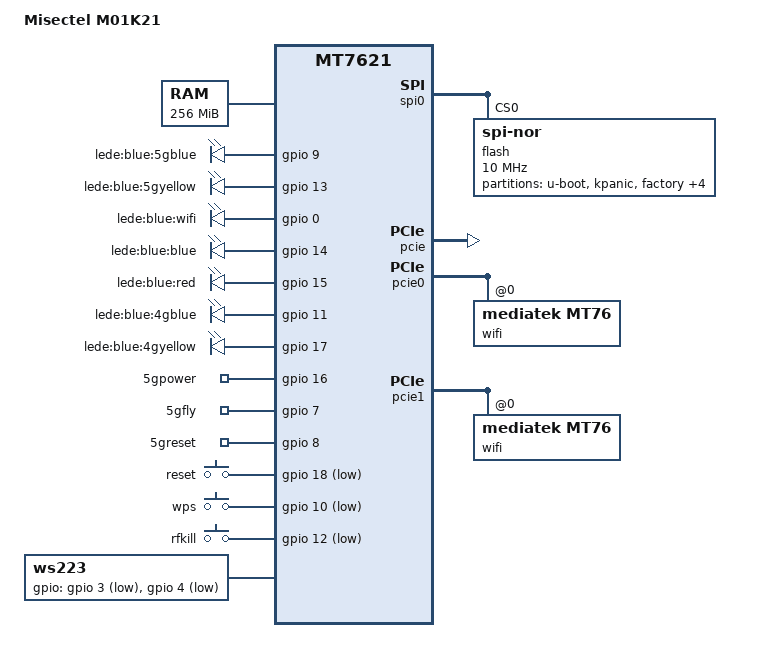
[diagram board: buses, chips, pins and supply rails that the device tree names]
// SPDX-License-Identifier: GPL-2.0-or-later OR MIT

#include "mt7621.dtsi"

#include <dt-bindings/gpio/gpio.h>
#include <dt-bindings/input/input.h>

/ {
	compatible = "misectel,m01k21", "mediatek,mt7621-soc";
	model = "Misectel M01K21";

	aliases {
		label-mac-device = &gmac0;
		led-boot = &led_blue;
		led-failsafe = &led_red;
		led-running = &led_blue;
		led-upgrade = &led_blue;
	};

	memory@0 {
		device_type = "memory";
		reg = <0x0 0x10000000>;
	};

	chosen {
		bootargs = "console=ttyS0,115200";
	};

	leds {
		compatible = "gpio-leds";

		led_5g_blue: led-5g-blue {
			label = "lede:blue:5gblue";
			gpios = <&gpio 9 GPIO_ACTIVE_HIGH>;
			default-state = "off";
		};

		led_5g_yellow: led-5g-yellow {
			label = "lede:blue:5gyellow";
			gpios = <&gpio 13 GPIO_ACTIVE_HIGH>;
			default-state = "off";
		};

		led_wifi: led-wifi {
			label = "lede:blue:wifi";
			gpios = <&gpio 0 GPIO_ACTIVE_HIGH>;
			default-state = "off";
		};

		led_blue: led-blue {
			label = "lede:blue:blue";
			gpios = <&gpio 14 GPIO_ACTIVE_HIGH>;
			linux,default-trigger = "timer";
			default-state = "off";
		};

		led_red: led-red {
			label = "lede:blue:red";
			gpios = <&gpio 15 GPIO_ACTIVE_HIGH>;
			default-state = "off";
		};

		led_4g_blue: led-4g-blue {
			label = "lede:blue:4gblue";
			gpios = <&gpio 11 GPIO_ACTIVE_HIGH>;
			default-state = "off";
		};

		led_4g_yellow: led-4g-yellow {
			label = "lede:blue:4gyellow";
			gpios = <&gpio 17 GPIO_ACTIVE_HIGH>;
			default-state = "off";
		};
	};

	gpio-export {
		compatible = "gpio-export";

		modem-power {
			gpio-export,name = "5gpower";
			gpio-export,output = <0>;
			gpios = <&gpio 16 GPIO_ACTIVE_HIGH>;
		};

		modem-flight-mode {
			gpio-export,name = "5gfly";
			gpio-export,output = <0>;
			gpios = <&gpio 7 GPIO_ACTIVE_HIGH>;
		};

		modem-reset {
			gpio-export,name = "5greset";
			gpio-export,output = <0>;
			gpios = <&gpio 8 GPIO_ACTIVE_HIGH>;
		};
	};

	keys {
		compatible = "gpio-keys";

		reset {
			label = "reset";
			gpios = <&gpio 18 GPIO_ACTIVE_LOW>;
			linux,code = <KEY_RESTART>;
		};

		wps {
			label = "wps";
			gpios = <&gpio 10 GPIO_ACTIVE_LOW>;
			linux,code = <KEY_WPS_BUTTON>;
		};

		rfkill {
			label = "rfkill";
			gpios = <&gpio 12 GPIO_ACTIVE_LOW>;
			linux,code = <KEY_RFKILL>;
		};
	};

	ws223 {
		compatible = "ws223";
		gpios = <&gpio 3 GPIO_ACTIVE_LOW>,
			<&gpio 4 GPIO_ACTIVE_LOW>;
	};
};

&spi0 {
	status = "okay";

	flash@0 {
		compatible = "jedec,spi-nor";
		reg = <0>;
		spi-max-frequency = <10000000>;

		partitions {
			compatible = "fixed-partitions";
			#address-cells = <1>;
			#size-cells = <1>;

			partition@0 {
				label = "u-boot";
				reg = <0x0 0x30000>;
				read-only;
			};

			partition@30000 {
				label = "kpanic";
				reg = <0x30000 0x10000>;
			};

			factory: partition@40000 {
				label = "factory";
				reg = <0x40000 0x10000>;
				read-only;

				nvmem-layout {
					compatible = "fixed-layout";
					#address-cells = <1>;
					#size-cells = <1>;

					eeprom_factory_0: eeprom@0 {
						reg = <0x0 0xe00>;
					};

					eeprom_factory_8000: eeprom@8000 {
						reg = <0x8000 0xe00>;
					};
				};
			};

			partition@50000 {
				compatible = "denx,uimage";
				label = "firmware";
				reg = <0x50000 0xf80000>;
			};

			partition@fd0000 {
				label = "woem";
				reg = <0xfd0000 0x10000>;
			};

			ledeinfo: partition@fe0000 {
				label = "ledeinfo";
				reg = <0xfe0000 0x10000>;
				read-only;

				nvmem-layout {
					compatible = "fixed-layout";
					#address-cells = <1>;
					#size-cells = <1>;

					macaddr_ledeinfo_0: macaddr@0 {
						reg = <0x0 0x6>;
					};
				};
			};

			partition@ff0000 {
				label = "reserve";
				reg = <0xff0000 0x10000>;
				read-only;
			};
		};
	};
};

&pcie {
	status = "okay";
};

&pcie0 {
	wifi@0,0 {
		compatible = "mediatek,mt76";
		reg = <0x0000 0 0 0 0>;
		nvmem-cells = <&eeprom_factory_8000>;
		nvmem-cell-names = "eeprom";
		ieee80211-freq-limit = <5000000 6000000>;
	};
};

&pcie1 {
	wifi@0,0 {
		compatible = "mediatek,mt76";
		reg = <0x0000 0 0 0 0>;
		nvmem-cells = <&eeprom_factory_0>;
		nvmem-cell-names = "eeprom";
		ieee80211-freq-limit = <2400000 2500000>;
	};
};

&gmac0 {
	nvmem-cells = <&macaddr_ledeinfo_0>;
	nvmem-cell-names = "mac-address";
};

&switch0 {
	ports {
		port@0 {
			status = "okay";
			label = "lan1";
		};

		port@1 {
			status = "okay";
			label = "lan2";
		};
	};
};

&state_default {
	gpio {
		groups = "wdt", "jtag", "i2c", "uart3", "uart2";
		function = "gpio";
	};
};
